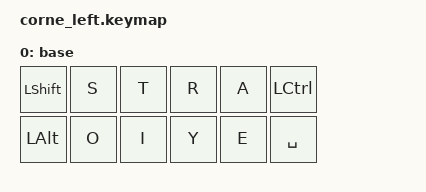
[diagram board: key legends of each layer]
/* ARTSEY TEST — IF YOU SEE QWERTY, THIS FILE IS NOT LOADED */

#include <behaviors.dtsi>
#include <dt-bindings/zmk/keys.h>

/ {
    keymap {
        compatible = "zmk,keymap";

        /* =========================
         * Base: ARTSEY Beta 0.9.0
         * 2×6 corne_left
         * ========================= */
        base {
            bindings = <
                /* Row 0 (top) */
                &kp LSHIFT   &kp S   &kp T   &kp R   &kp A   &kp LCTRL

                /* Row 1 (bottom) */
                &kp LALT     &kp O   &kp I   &kp Y   &kp E   &kp SPACE
            >;
        };
    };
};
